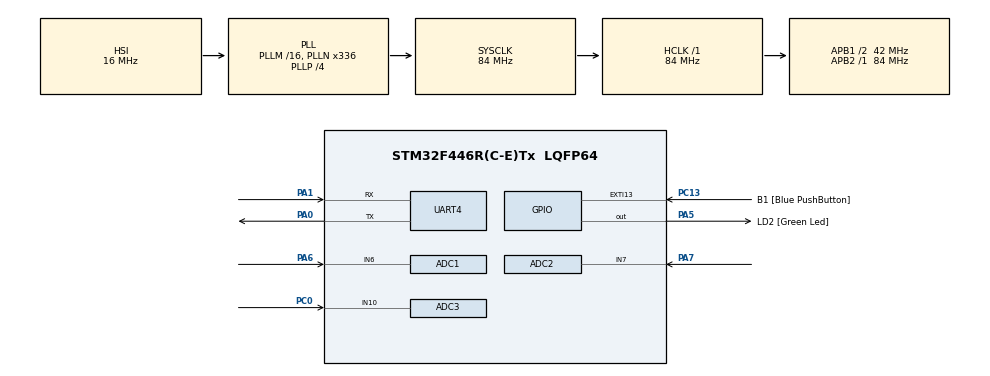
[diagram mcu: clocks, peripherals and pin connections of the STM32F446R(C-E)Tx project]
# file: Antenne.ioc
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ADC1.Channel-0\#ChannelRegularConversion=ADC_CHANNEL_6
ADC1.NbrOfConversionFlag=1
ADC1.Rank-0\#ChannelRegularConversion=1
ADC1.SamplingTime-0\#ChannelRegularConversion=ADC_SAMPLETIME_3CYCLES
ADC1.master=1
ADC2.Channel-0\#ChannelRegularConversion=ADC_CHANNEL_7
ADC2.ContinuousConvMode=DISABLE
ADC2.NbrOfConversionFlag=1
ADC2.Rank-0\#ChannelRegularConversion=1
ADC2.SamplingTime-0\#ChannelRegularConversion=ADC_SAMPLETIME_3CYCLES
ADC3.Channel-0\#ChannelRegularConversion=ADC_CHANNEL_10
ADC3.NbrOfConversionFlag=1
ADC3.Rank-0\#ChannelRegularConversion=1
ADC3.SamplingTime-0\#ChannelRegularConversion=ADC_SAMPLETIME_3CYCLES
Mcu.Family=STM32F4
Mcu.Name=STM32F446R(C-E)Tx
Mcu.Package=LQFP64
NVIC.EXTI15_10_IRQn=true\:0\:0\:false\:false\:true\:true\:true
NVIC.PriorityGroup=NVIC_PRIORITYGROUP_0
PA0-WKUP.Mode=Asynchronous
PA0-WKUP.Signal=UART4_TX
PA1.Mode=Asynchronous
PA1.Signal=UART4_RX
PA13.GPIO_Label=TMS
PA13.Mode=Serial_Wire
PA13.Signal=SYS_JTMS-SWDIO
PA14.GPIO_Label=TCK
PA14.Mode=Serial_Wire
PA14.Signal=SYS_JTCK-SWCLK
PA2.GPIO_Label=USART_TX
PA2.Signal=USART2_TX
PA3.GPIO_Label=USART_RX
PA3.Signal=USART2_RX
PA5.GPIO_Label=LD2 [Green Led]
PA5.Signal=GPIO_Output
PA6.Signal=ADCx_IN6
PA7.Signal=ADCx_IN7
PB3.GPIO_Label=SWO
PB3.Signal=SYS_JTDO-SWO
PC0.Signal=ADCx_IN10
PC13.GPIO_Label=B1 [Blue PushButton]
PC13.GPIO_ModeDefaultEXTI=GPIO_MODE_IT_FALLING
PC13.GPIO_PuPd=GPIO_NOPULL
PC13.Signal=GPXTI13
PC14-OSC32_IN.Mode=LSE-External-Oscillator
PC14-OSC32_IN.Signal=RCC_OSC32_IN
PC15-OSC32_OUT.Mode=LSE-External-Oscillator
PC15-OSC32_OUT.Signal=RCC_OSC32_OUT
PH0-OSC_IN.Mode=HSE-External-Oscillator
PH0-OSC_IN.Signal=RCC_OSC_IN
PH1-OSC_OUT.Mode=HSE-External-Oscillator
PH1-OSC_OUT.Signal=RCC_OSC_OUT
ProjectManager.HeapSize=0x200
ProjectManager.StackSize=0x400
ProjectManager.TargetToolchain=MDK-ARM V5
RCC.48MHZClocksFreq_Value=84000000
RCC.AHBFreq_Value=84000000
RCC.APB1CLKDivider=RCC_HCLK_DIV2
RCC.APB1Freq_Value=42000000
RCC.APB1TimFreq_Value=84000000
RCC.APB2Freq_Value=84000000
RCC.APB2TimFreq_Value=84000000
RCC.CortexFreq_Value=84000000
RCC.FLatency-AdvancedSettings=FLASH_LATENCY_2
RCC.HCLKFreq_Value=84000000
RCC.HSE_VALUE=8000000
RCC.HSI_VALUE=16000000
RCC.PLLN=336
RCC.PLLP=RCC_PLLP_DIV4
RCC.SYSCLKFreq_VALUE=84000000
RCC.SYSCLKSource=RCC_SYSCLKSOURCE_PLLCLK
RCC.USBFreq_Value=168000000
RCC.VCOOutputFreq_Value=336000000
SH.ADCx_IN10.0=ADC3_IN10,IN10
SH.ADCx_IN6.0=ADC1_IN6,IN6
SH.ADCx_IN7.0=ADC2_IN7,IN7
UART4.VirtualMode=Asynchronous
board=NUCLEO-F446RE

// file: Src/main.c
/* USER CODE BEGIN Header */
/**
  ******************************************************************************
  * @file           : main.c
  * @brief          : Main program body
  ******************************************************************************
  * @attention
  *
  * <h2><center>&copy; Copyright (c) 2019 STMicroelectronics.
  * All rights reserved.</center></h2>
  *
  * This software component is licensed by ST under BSD 3-Clause license,
  * the "License"; You may not use this file except in compliance with the
  * License. You may obtain a copy of the License at:
  *                        opensource.org/licenses/BSD-3-Clause
  *
  ******************************************************************************
  */
/* USER CODE END Header */

#include "main.h"
#include "adc.h"
#include "usart.h"
#include "gpio.h"

/* USER CODE BEGIN Includes */

#include <stdlib.h>
#include <string.h>

/* USER CODE END Includes */

/* USER CODE BEGIN PV */

// Turbidity PA6
uint16_t adc1Value = 0;

// Ph PA7
uint16_t adc2Value = 0;

// Humidity PC10
uint16_t adc3Value = 0;

//appui bouton bleu
char blueButton = 0;

/* USER CODE END PV */

void SystemClock_Config(void);

/* USER CODE BEGIN 0 */

// cette calback est appelee pour toute interruption par les gpios, et transmet en parametre de quel pin elle vient
void HAL_GPIO_EXTI_Callback(uint16_t GPIO_Pin)
{
	switch (GPIO_Pin)
	{
		case GPIO_PIN_13:
				blueButton = 1;
	}
}

/* USER CODE END 0 */

int main(void)
{

  /* MCU Configuration--------------------------------------------------------*/

  /* Reset of all peripherals, Initializes the Flash interface and the Systick. */
  HAL_Init();

  /* Configure the system clock */
  SystemClock_Config();

  /* Initialize all configured peripherals */
  MX_GPIO_Init();
  MX_UART4_Init();
  MX_ADC1_Init();
  MX_ADC2_Init();
  MX_ADC3_Init();
  /* USER CODE BEGIN 2 */

	unsigned char *frameData;
	frameData = malloc(3 * sizeof(uint16_t));
	memset(frameData, 0, 3 * sizeof(uint16_t));

	unsigned int test = 0;

	//HAL_Delay(3000);

  /* USER CODE END 2 */

  /* Infinite loop */
	while(1)
	{
		/* USER CODE BEGIN WHILE */
		if (blueButton == 1)
		{
			test = 1;

			HAL_ADC_Start(&hadc1);
			HAL_ADC_PollForConversion(&hadc1, 100);

			HAL_ADC_Start(&hadc2);
			HAL_ADC_PollForConversion(&hadc2, 100);

			HAL_ADC_Start(&hadc3);
			HAL_ADC_PollForConversion(&hadc3, 100);

			adc1Value = HAL_ADC_GetValue(&hadc1);
			adc2Value = HAL_ADC_GetValue(&hadc2);
			adc3Value = HAL_ADC_GetValue(&hadc3);

			*frameData = adc1Value;
			*frameData = *frameData << sizeof(uint16_t);

			*frameData += adc2Value;
			*frameData = *frameData << sizeof(uint16_t);

			*frameData += adc3Value;
			*frameData = *frameData << sizeof(uint16_t);

			sendSigfoxFrame(frameData,sizeof( 8 * sizeof(unsigned char)),0,0);

			//AT command : send_frame [hexData] [nbRepetition] [flag dowlink --> 0 : pas de dl, 1 : dl]
			/*
				Decoder expected frame
				"Downlink" :    (self._trame, 0b100000000000000000000000000000000000000000000000000000000000000000000000000000000000000000000000),
				"Turbidity" :   (self._trame, 0b011111111111000000000000000000000000000000000000000000000000000000000000000000000000000000000000),
				"GPSLat" :      (self._trame, 0b000000000000111111111111111111110000000000000000000000000000000000000000000000000000000000000000),
				"Acceleration" :(self._trame, 0b000000000000000000000000000000001110000000000000000000000000000000000000000000000000000000000000),
				"GPSLong" :     (self._trame, 0b000000000000000000000000000000000001111111111111111111000000000000000000000000000000000000000000),
				"GPSLongSign" : (self._trame, 0b000000000000000000000000000000000000000000000000000000100000000000000000000000000000000000000000),
				"GPSlatSign" :  (self._trame, 0b000000000000000000000000000000000000000000000000000000010000000000000000000000000000000000000000),
				"pH" :          (self._trame, 0b000000000000000000000000000000000000000000000000000000001111111000000000000000000000000000000000),
				"InnerWater" :  (self._trame, 0b000000000000000000000000000000000000000000000000000000000000000100000000000000000000000000000000),
				"Pression" :    (self._trame, 0b000000000000000000000000000000000000000000000000000000000000000011111111111110000000000000000000),
				"Conductance" : (self._trame, 0b000000000000000000000000000000000000000000000000000000000000000000000000000001111111111100000000),
				"Temperature" : (self._trame, 0b000000000000000000000000000000000000000000000000000000000000000000000000000000000000000011111110),
				"OuterWater" :  (self._trame, 0b000000000000000000000000000000000000000000000000000000000000000000000000000000000000000000000001)
			*/

			blueButton = 0;
			memset(frameData, 0, 3 * sizeof(uint16_t));
			HAL_Delay(3000);
		}
		/* USER CODE END WHILE */
	}
}

void SystemClock_Config(void)
{
  RCC_OscInitTypeDef RCC_OscInitStruct = {0};
  RCC_ClkInitTypeDef RCC_ClkInitStruct = {0};

  /** Configure the main internal regulator output voltage
  */
  __HAL_RCC_PWR_CLK_ENABLE();
  __HAL_PWR_VOLTAGESCALING_CONFIG(PWR_REGULATOR_VOLTAGE_SCALE3);
  /** Initializes the CPU, AHB and APB busses clocks
  */
  RCC_OscInitStruct.OscillatorType = RCC_OSCILLATORTYPE_HSI;
  RCC_OscInitStruct.HSIState = RCC_HSI_ON;
  RCC_OscInitStruct.HSICalibrationValue = RCC_HSICALIBRATION_DEFAULT;
  RCC_OscInitStruct.PLL.PLLState = RCC_PLL_ON;
  RCC_OscInitStruct.PLL.PLLSource = RCC_PLLSOURCE_HSI;
  RCC_OscInitStruct.PLL.PLLM = 16;
  RCC_OscInitStruct.PLL.PLLN = 336;
  RCC_OscInitStruct.PLL.PLLP = RCC_PLLP_DIV4;
  RCC_OscInitStruct.PLL.PLLQ = 2;
  RCC_OscInitStruct.PLL.PLLR = 2;
  if (HAL_RCC_OscConfig(&RCC_OscInitStruct) != HAL_OK)
  {
    Error_Handler();
  }
  /** Initializes the CPU, AHB and APB busses clocks
  */
  RCC_ClkInitStruct.ClockType = RCC_CLOCKTYPE_HCLK|RCC_CLOCKTYPE_SYSCLK
                              |RCC_CLOCKTYPE_PCLK1|RCC_CLOCKTYPE_PCLK2;
  RCC_ClkInitStruct.SYSCLKSource = RCC_SYSCLKSOURCE_PLLCLK;
  RCC_ClkInitStruct.AHBCLKDivider = RCC_SYSCLK_DIV1;
  RCC_ClkInitStruct.APB1CLKDivider = RCC_HCLK_DIV2;
  RCC_ClkInitStruct.APB2CLKDivider = RCC_HCLK_DIV1;

  if (HAL_RCC_ClockConfig(&RCC_ClkInitStruct, FLASH_LATENCY_2) != HAL_OK)
  {
    Error_Handler();
  }
}

void Error_Handler(void)
{
}

/************************ (C) COPYRIGHT STMicroelectronics *****END OF FILE****/
